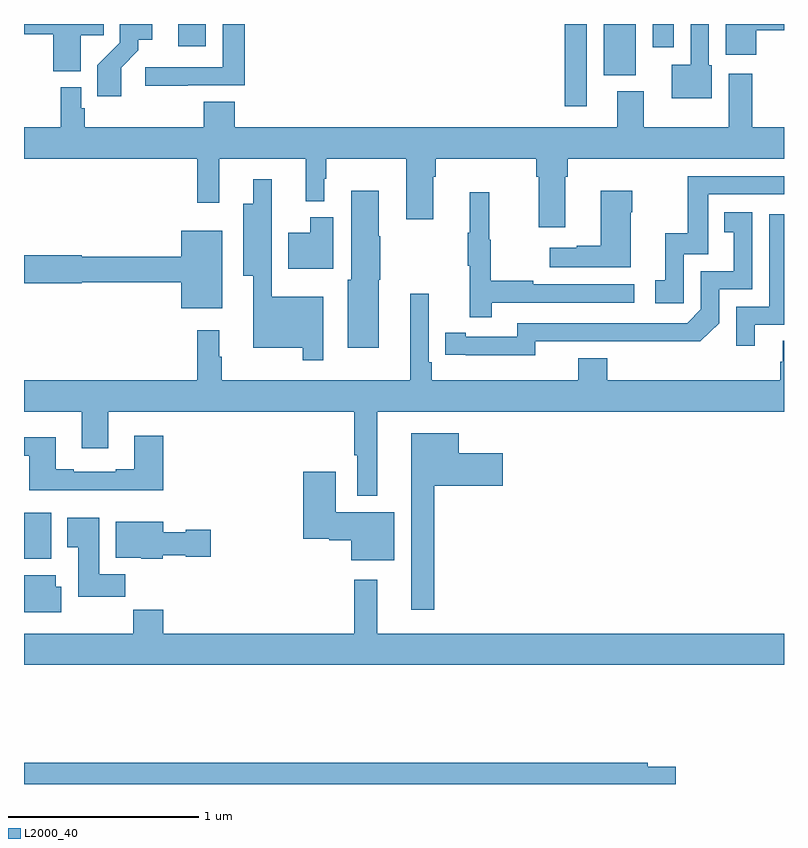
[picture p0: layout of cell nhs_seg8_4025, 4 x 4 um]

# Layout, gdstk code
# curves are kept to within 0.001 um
import gdstk
lib = gdstk.Library(unit=1e-6, precision=1e-09)
def R(c, l, rs):  # rectangles x0, y0, x1, y1
    for r in rs: c.add(gdstk.rectangle(r[:2], r[2:], *l))
def P(c, l, *ps):  # polygons
    for p in ps: c.add(gdstk.Polygon(p, *l))
L2000_40 = (2000, 40)

nhs_seg8_4025 = lib.new_cell('nhs_seg8_4025')
R(nhs_seg8_4025, L2000_40, [(359,1089.086,359.143,1089.328), (361.846,1091.466,361.962,1091.9), (362.051,1091.63,362.221,1091.9), (362.309,1091.778,362.419,1091.9), (359.813,1091.784,359.956,1091.9)])
P(nhs_seg8_4025, L2000_40, [(362.855,1091.867),(363,1091.867),(363,1091.9),(362.693,1091.9),(362.693,1091.739),(362.855,1091.739)],
  [(359.512,1091.671),(359.602,1091.761),(359.602,1091.816),(359.674,1091.816),(359.674,1091.9),(359.505,1091.9),(359.505,1091.801),(359.386,1091.682),(359.386,1091.52),(359.512,1091.52)],
  [(359.861,1091.577),(360.161,1091.577),(360.161,1091.9),(360.045,1091.9),(360.045,1091.673),(359.637,1091.673),(359.637,1091.575),(359.861,1091.575)],
  [(362.62,1091.682),(362.604,1091.682),(362.604,1091.9),(362.508,1091.9),(362.508,1091.686),(362.408,1091.686),(362.408,1091.51),(362.62,1091.51)],
  [(359.299,1091.842),(359.42,1091.842),(359.42,1091.9),(359,1091.9),(359,1091.845),(359.155,1091.845),(359.155,1091.651),(359.299,1091.651)],
  [(363,1091.356),(362.834,1091.356),(362.834,1091.638),(362.708,1091.638),(362.708,1091.356),(362.263,1091.356),(362.263,1091.545),(362.123,1091.545),(362.123,1091.356),(360.11,1091.356),(360.11,1091.492),(359.945,1091.492),(359.945,1091.356),(359.321,1091.356),(359.321,1091.457),(359.301,1091.457),(359.301,1091.566),(359.193,1091.566),(359.193,1091.356),(359,1091.356),(359,1091.192),(359.911,1091.192),(359.911,1090.959),(360.027,1090.959),(360.027,1091.192),(360.482,1091.192),(360.482,1090.967),(360.58,1090.967),(360.58,1091.085),(360.592,1091.085),(360.592,1091.192),(361.013,1091.192),(361.013,1090.872),(361.153,1090.872),(361.153,1091.096),(361.166,1091.096),(361.166,1091.192),(361.697,1091.192),(361.697,1091.096),(361.709,1091.096),(361.709,1090.83),(361.849,1090.83),(361.849,1091.096),(361.862,1091.096),(361.862,1091.192),(363,1091.192)],
  [(362.472,1090.689),(362.601,1090.689),(362.601,1091.004),(363,1091.004),(363,1091.1),(362.493,1091.1),(362.493,1090.798),(362.375,1090.798),(362.375,1090.551),(362.322,1090.551),(362.322,1090.431),(362.472,1090.431)],
  [(360.576,1090.465),(360.304,1090.465),(360.304,1090.797),(360.303,1090.797),(360.303,1091.083),(360.206,1091.083),(360.206,1090.954),(360.155,1090.954),(360.155,1090.574),(360.206,1090.574),(360.206,1090.196),(360.468,1090.196),(360.468,1090.131),(360.576,1090.131)],
  [(362.194,1090.91),(362.202,1090.91),(362.202,1091.023),(362.036,1091.023),(362.036,1090.733),(361.91,1090.733),(361.91,1090.723),(361.767,1090.723),(361.767,1090.619),(362.194,1090.619)],
  [(360.868,1090.554),(360.876,1090.554),(360.876,1090.784),(360.868,1090.784),(360.868,1091.023),(360.722,1091.023),(360.722,1090.554),(360.704,1090.554),(360.704,1090.196),(360.868,1090.196)],
  [(361.463,1090.434),(362.212,1090.434),(362.212,1090.53),(361.679,1090.53),(361.679,1090.55),(361.456,1090.55),(361.456,1090.764),(361.448,1090.764),(361.448,1091.014),(361.346,1091.014),(361.346,1090.801),(361.335,1090.801),(361.335,1090.627),(361.346,1090.627),(361.346,1090.356),(361.463,1090.356)],
  [(361.692,1090.23),(362.56,1090.229),(362.658,1090.326),(362.658,1090.503),(362.832,1090.503),(362.832,1090.909),(362.686,1090.909),(362.686,1090.803),(362.735,1090.803),(362.735,1090.599),(362.562,1090.599),(362.562,1090.398),(362.49,1090.326),(361.596,1090.326),(361.596,1090.254),(361.324,1090.254),(361.324,1090.274),(361.216,1090.274),(361.216,1090.158),(361.692,1090.157)],
  [(362.845,1090.317),(363,1090.317),(363,1090.899),(362.922,1090.899),(362.922,1090.413),(362.748,1090.413),(362.748,1090.206),(362.845,1090.206)],
  [(360.628,1090.882),(360.506,1090.882),(360.506,1090.801),(360.392,1090.801),(360.392,1090.613),(360.628,1090.613)],
  [(360.043,1090.813),(359.828,1090.813),(359.828,1090.676),(359.304,1090.676),(359.304,1090.682),(359,1090.682),(359,1090.535),(359.304,1090.535),(359.304,1090.54),(359.828,1090.54),(359.828,1090.403),(360.043,1090.403)],
  [(360.859,1089.86),(363,1089.86),(363,1090.232),(362.993,1090.232),(362.993,1090.122),(362.981,1090.122),(362.981,1090.024),(362.069,1090.024),(362.069,1090.141),(361.916,1090.141),(361.916,1090.024),(361.145,1090.024),(361.145,1090.12),(361.131,1090.12),(361.131,1090.48),(361.034,1090.48),(361.034,1090.024),(360.04,1090.024),(360.04,1090.148),(360.028,1090.148),(360.028,1090.288),(359.911,1090.288),(359.911,1090.024),(359,1090.024),(359,1089.86),(359.303,1089.86),(359.303,1089.666),(359.443,1089.666),(359.443,1089.86),(360.738,1089.86),(360.738,1089.631),(360.755,1089.631),(360.755,1089.416),(360.859,1089.416)],
  [(361.159,1089.47),(361.519,1089.47),(361.519,1089.64),(361.288,1089.64),(361.288,1089.745),(361.037,1089.745),(361.037,1088.817),(361.159,1088.817)],
  [(359.732,1089.733),(359.579,1089.733),(359.579,1089.556),(359.483,1089.556),(359.483,1089.543),(359.263,1089.543),(359.263,1089.556),(359.167,1089.556),(359.167,1089.724),(359,1089.724),(359,1089.627),(359.027,1089.627),(359.027,1089.446),(359.732,1089.446)],
  [(360.949,1089.331),(360.64,1089.331),(360.64,1089.544),(360.47,1089.544),(360.47,1089.191),(360.606,1089.191),(360.606,1089.184),(360.722,1089.184),(360.722,1089.077),(360.949,1089.077)],
  [(359.534,1089.004),(359.395,1089.004),(359.395,1089.301),(359.228,1089.301),(359.228,1089.145),(359.285,1089.145),(359.285,1088.886),(359.534,1088.886)],
  [(359.73,1089.104),(359.85,1089.104),(359.85,1089.097),(359.983,1089.097),(359.983,1089.239),(359.85,1089.239),(359.85,1089.226),(359.734,1089.226),(359.734,1089.28),(359.483,1089.28),(359.483,1089.092),(359.616,1089.092),(359.616,1089.086),(359.73,1089.086)],
  [(359.197,1088.939),(359.167,1088.939),(359.167,1088.998),(359,1088.998),(359,1088.804),(359.197,1088.804)],
  [(363,1088.692),(360.859,1088.692),(360.859,1088.974),(360.738,1088.974),(360.738,1088.692),(359.732,1088.692),(359.732,1088.816),(359.575,1088.816),(359.575,1088.692),(359,1088.692),(359,1088.528),(363,1088.528)],
  [(362.429,1087.992),(362.282,1087.992),(362.282,1088.012),(359,1088.012),(359,1087.9),(362.429,1087.9)])

lib.write_gds('nhs_seg8_4025.gds')
